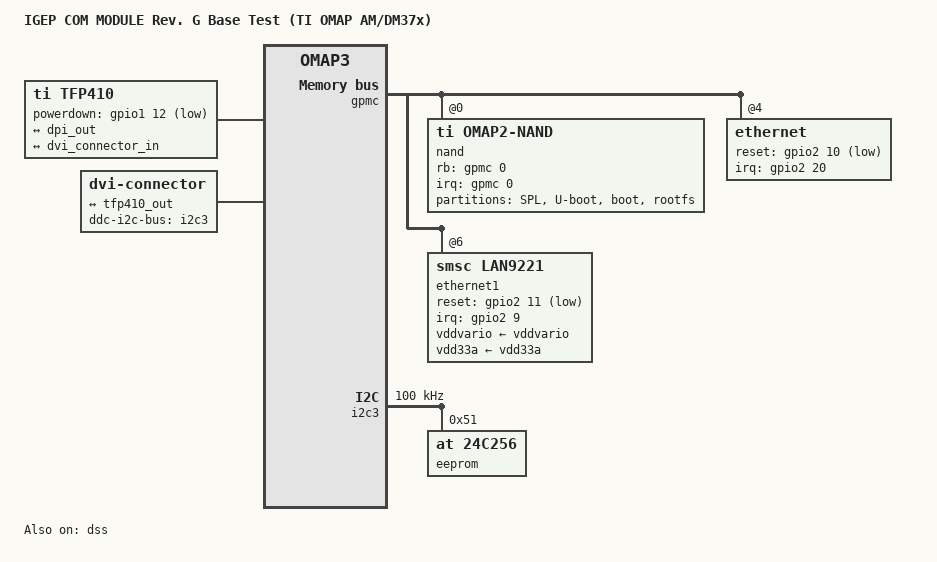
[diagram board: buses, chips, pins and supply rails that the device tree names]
/*
 * Device Tree Source for IGEP COM MODULE Rev. G + Base Test (TI OMAP AM/DM37x)
 * 
 * Copyright (C) 2019 Manel Caro  <mcaro@iseebcn.com>
 *
 * This program is free software; you can redistribute it and/or modify
 * it under the terms of the GNU General Public License version 2 as
 * published by the Free Software Foundation.
 */

#include "omap3-igep0030-rev-gw.dts"
#include "omap-gpmc-smsc9221.dtsi"

/ {
	model = "IGEP COM MODULE Rev. G Base Test (TI OMAP AM/DM37x)";
	compatible = "isee,omap3-igep0030-rev-g-test", "ti,omap36xx", "ti,omap3";

	tfp410: encoder0 {
		compatible = "ti,tfp410";
		powerdown-gpios = <&gpio1 12 GPIO_ACTIVE_LOW>;

		/* XXX pinctrl from twl */

		ports {
			#address-cells = <1>;
			#size-cells = <0>;

			port@0 {
				reg = <0>;

				tfp410_in: endpoint {
					remote-endpoint = <&dpi_out>;
				};
			};

			port@1 {
				reg = <1>;

				tfp410_out: endpoint {
					remote-endpoint = <&dvi_connector_in>;
				};
			};
		};
	};

	dvi0: connector0 {
		compatible = "dvi-connector";
		label = "dvi";

		digital;

		ddc-i2c-bus = <&i2c3>;

		port {
			dvi_connector_in: endpoint {
				remote-endpoint = <&tfp410_out>;
			};
		};
	};

};

&omap3_pmx_core {
	pinctrl-names = "default";

	smsc9221_pins: pinmux_smsc9221_pins {
		pinctrl-single,pins = <
			OMAP3_CORE1_IOPAD(0x20b0, PIN_INPUT_PULLUP | MUX_MODE4)		/* gpmc_ncs1.gpio_52 - ENET0_IRQ */
			OMAP3_CORE1_IOPAD(0x208a, PIN_OUTPUT_PULLUP | MUX_MODE4)	/* gpmc_a9.gpio_42 - ENET0_nRESET */
		>;
	};

	smsc9221two_pins: pinmux_smsc9221two_pins {
		pinctrl-single,pins = <
			OMAP3_CORE1_IOPAD(0x2088, PIN_INPUT_PULLUP | MUX_MODE4)		/* gpmc_a8.gpio_41 - ENET1_IRQ */
			OMAP3_CORE1_IOPAD(0x208c, PIN_OUTPUT_PULLUP | MUX_MODE4)	/* gpmc_a10.gpio_43 - ENET1_nRESET */
		>;
	};

	dss_dpi_pins: pinmux_dss_dpi_pins {
		pinctrl-single,pins = <
			OMAP3_CORE1_IOPAD(0x20d4, PIN_OUTPUT | MUX_MODE0)   /* dss_pclk.dss_pclk */
			OMAP3_CORE1_IOPAD(0x20d6, PIN_OUTPUT | MUX_MODE0)   /* dss_hsync.dss_hsync */
			OMAP3_CORE1_IOPAD(0x20d8, PIN_OUTPUT | MUX_MODE0)   /* dss_vsync.dss_vsync */
			OMAP3_CORE1_IOPAD(0x20da, PIN_OUTPUT | MUX_MODE0)   /* dss_acbias.dss_acbias */
			OMAP3_CORE1_IOPAD(0x20dc, PIN_OUTPUT | MUX_MODE0)   /* dss_data0.dss_data0 */
			OMAP3_CORE1_IOPAD(0x20de, PIN_OUTPUT | MUX_MODE0)   /* dss_data1.dss_data1 */
			OMAP3_CORE1_IOPAD(0x20e0, PIN_OUTPUT | MUX_MODE0)   /* dss_data2.dss_data2 */
			OMAP3_CORE1_IOPAD(0x20e2, PIN_OUTPUT | MUX_MODE0)   /* dss_data3.dss_data3 */
			OMAP3_CORE1_IOPAD(0x20e4, PIN_OUTPUT | MUX_MODE0)   /* dss_data4.dss_data4 */
			OMAP3_CORE1_IOPAD(0x20e6, PIN_OUTPUT | MUX_MODE0)   /* dss_data5.dss_data5 */
			OMAP3_CORE1_IOPAD(0x20e8, PIN_OUTPUT | MUX_MODE0)   /* dss_data6.dss_data6 */
			OMAP3_CORE1_IOPAD(0x20ea, PIN_OUTPUT | MUX_MODE0)   /* dss_data7.dss_data7 */
			OMAP3_CORE1_IOPAD(0x20ec, PIN_OUTPUT | MUX_MODE0)   /* dss_data8.dss_data8 */
			OMAP3_CORE1_IOPAD(0x20ee, PIN_OUTPUT | MUX_MODE0)   /* dss_data9.dss_data9 */
			OMAP3_CORE1_IOPAD(0x20f0, PIN_OUTPUT | MUX_MODE0)   /* dss_data10.dss_data10 */
			OMAP3_CORE1_IOPAD(0x20f2, PIN_OUTPUT | MUX_MODE0)   /* dss_data11.dss_data11 */
			OMAP3_CORE1_IOPAD(0x20f4, PIN_OUTPUT | MUX_MODE0)   /* dss_data12.dss_data12 */
			OMAP3_CORE1_IOPAD(0x20f6, PIN_OUTPUT | MUX_MODE0)   /* dss_data13.dss_data13 */
			OMAP3_CORE1_IOPAD(0x20f8, PIN_OUTPUT | MUX_MODE0)   /* dss_data14.dss_data14 */
			OMAP3_CORE1_IOPAD(0x20fa, PIN_OUTPUT | MUX_MODE0)   /* dss_data15.dss_data15 */
			OMAP3_CORE1_IOPAD(0x20fc, PIN_OUTPUT | MUX_MODE0)   /* dss_data16.dss_data16 */
			OMAP3_CORE1_IOPAD(0x20fe, PIN_OUTPUT | MUX_MODE0)   /* dss_data17.dss_data17 */
			OMAP3_CORE1_IOPAD(0x2100, PIN_OUTPUT | MUX_MODE0)   /* dss_data18.dss_data18 */
			OMAP3_CORE1_IOPAD(0x2102, PIN_OUTPUT | MUX_MODE0)   /* dss_data19.dss_data19 */
			OMAP3_CORE1_IOPAD(0x2104, PIN_OUTPUT | MUX_MODE0)   /* dss_data20.dss_data20 */
			OMAP3_CORE1_IOPAD(0x2106, PIN_OUTPUT | MUX_MODE0)   /* dss_data21.dss_data21 */
			OMAP3_CORE1_IOPAD(0x2108, PIN_OUTPUT | MUX_MODE0)   /* dss_data22.dss_data22 */
			OMAP3_CORE1_IOPAD(0x210a, PIN_OUTPUT | MUX_MODE0)   /* dss_data23.dss_data23 */
		>;
	};

#if 0
	i2c3_pins: pinmux_i2c3_pins {
		pinctrl-single,pins = <
			OMAP3_CORE1_IOPAD(0x21c2, PIN_INPUT | MUX_MODE0)	/* i2c3_scl.i2c3_scl */
			OMAP3_CORE1_IOPAD(0x21c4, PIN_INPUT | MUX_MODE0)	/* i2c3_sda.i2c3_sda */
		>;
	};
#endif	

};

&gpmc { /delete-node/ nand@0,0; };


&gpmc {
		
	ranges =  <4 0 0x2b000000 0x01000000>,	/* CS4: 16MB for ethernet 0*/
			  <6 0 0x2d000000 0x01000000>,	/* CS6: 16MB for ethernet 1*/
			  <0 0 0x30000000 0x01000000>;	/* CS0: 16MB for NAND */

	nand@0,0 {
		compatible = "ti,omap2-nand";
		reg = <0 0 4>; /* CS0, offset 0, IO size 4 */
		interrupt-parent = <&gpmc>;
		interrupts = <0 IRQ_TYPE_NONE>, /* fifoevent */
			     <1 IRQ_TYPE_NONE>;	/* termcount */
		linux,mtd-name= "micron,mt29c4g96maz";
		nand-bus-width = <16>;
		rb-gpios = <&gpmc 0 GPIO_ACTIVE_HIGH>; /* gpmc_wait0 */
		gpmc,device-width = <2>;
		ti,nand-ecc-opt = "bch8";
		gpmc,sync-clk-ps = <0>;
		gpmc,cs-on-ns = <0>;
		gpmc,cs-rd-off-ns = <44>;
		gpmc,cs-wr-off-ns = <44>;
		gpmc,adv-on-ns = <6>;
		gpmc,adv-rd-off-ns = <34>;
		gpmc,adv-wr-off-ns = <44>;
		gpmc,we-off-ns = <40>;
		gpmc,oe-off-ns = <54>;
		gpmc,access-ns = <64>;
		gpmc,rd-cycle-ns = <82>;
		gpmc,wr-cycle-ns = <82>;
		gpmc,wr-access-ns = <40>;
		gpmc,wr-data-mux-bus-ns = <0>;

		#address-cells = <1>;
		#size-cells = <1>;

		/* MTD partition table */
		partition@0 {
			label = "SPL";
			reg = <0x00000000 0x00080000>;	/* 512KiB */
		};

		partition@1 {
			label = "U-boot";
			reg = <0x00080000 0x00100000>;	/* 1 MiB */
		};

		partition@2 {
			label = "boot";
			/* reg = <0x00180000 0x00020000>;
			reg = <0x00180000 0x00A00000>;	/* 10 MiB */
		};

		partition@3 {
			label = "rootfs";
			reg = <0x00B80000 0>;
			/* HACK: MTDPART_SIZ_FULL=0 so fill to end */
		};
	};
	
	ethernet@gpmc {
		reg = <4 0 0xff>;
		pinctrl-names = "default";
		pinctrl-0 = <&smsc9221_pins>;
		interrupt-parent = <&gpio2>;
		interrupts = <20 IRQ_TYPE_LEVEL_LOW>;
		reset-gpios = <&gpio2 10 GPIO_ACTIVE_LOW>;
	};

	ethernet1@6,0 {
		reg = <6 0 0xff>;
		compatible = "smsc,lan9221","smsc,lan9115";
		pinctrl-names = "default";
		pinctrl-0 = <&smsc9221two_pins>;

		bank-width = <2>;
		gpmc,mux-add-data;
		gpmc,cs-on-ns = <0>;
		gpmc,cs-rd-off-ns = <42>;
		gpmc,cs-wr-off-ns = <36>;
		gpmc,adv-on-ns = <6>;
		gpmc,adv-rd-off-ns = <12>;
		gpmc,adv-wr-off-ns = <12>;
		gpmc,oe-on-ns = <0>;
		gpmc,oe-off-ns = <42>;
		gpmc,we-on-ns = <0>;
		gpmc,we-off-ns = <36>;
		gpmc,rd-cycle-ns = <60>;
		gpmc,wr-cycle-ns = <54>;
		gpmc,access-ns = <36>;
		gpmc,page-burst-access-ns = <0>;
		gpmc,bus-turnaround-ns = <0>;
		gpmc,cycle2cycle-delay-ns = <0>;
		gpmc,wr-data-mux-bus-ns = <18>;
		gpmc,wr-access-ns = <42>;
		gpmc,cycle2cycle-samecsen;
		gpmc,cycle2cycle-diffcsen;
		vddvario-supply = <&vddvario>;
		vdd33a-supply = <&vdd33a>;
		reg-io-width = <4>;
		smsc,save-mac-address;

		interrupt-parent = <&gpio2>;
		interrupts = <9 0x2>;
		reset-gpios = <&gpio2 11 GPIO_ACTIVE_LOW>;
	};
};

&dss {
	status = "ok";

	pinctrl-names = "default";
	pinctrl-0 = <
		&dss_dpi_pins
	>;

	port {
		dpi_out: endpoint {
			remote-endpoint = <&tfp410_in>;
			data-lines = <24>;
		};
	};
};

&i2c3 {
	clock-frequency = <100000>;

	eeprom@51 {
		compatible = "at,24c256";
		reg = <0x51>;
	};
};

